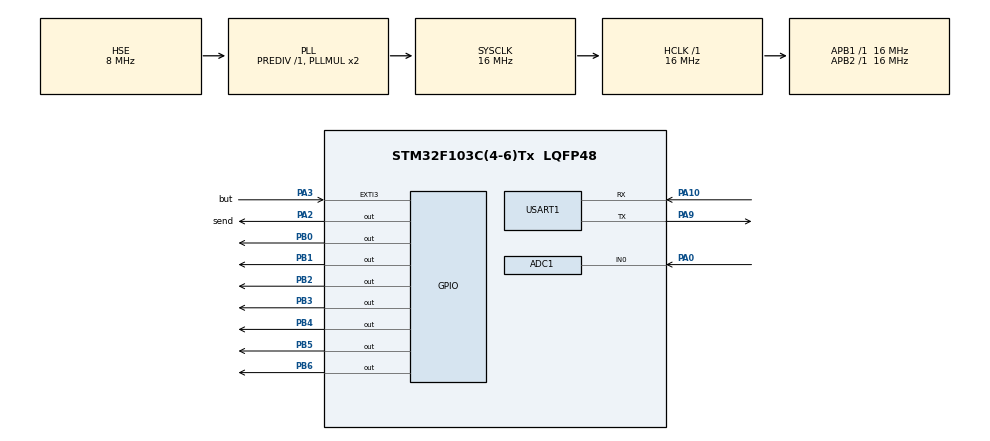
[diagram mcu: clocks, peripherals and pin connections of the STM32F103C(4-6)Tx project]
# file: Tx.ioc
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ADC1.Channel-0\#ChannelRegularConversion=ADC_CHANNEL_0
ADC1.NbrOfConversionFlag=1
ADC1.Rank-0\#ChannelRegularConversion=1
ADC1.SamplingTime-0\#ChannelRegularConversion=ADC_SAMPLETIME_1CYCLE_5
ADC1.master=1
Mcu.Family=STM32F1
Mcu.Name=STM32F103C(4-6)Tx
Mcu.Package=LQFP48
NVIC.ADC1_2_IRQn=true\:0\:0\:false\:false\:true\:true\:true\:true
NVIC.EXTI3_IRQn=true\:0\:0\:false\:false\:true\:true\:true\:true
NVIC.PriorityGroup=NVIC_PRIORITYGROUP_4
NVIC.TIM2_IRQn=true\:0\:0\:false\:false\:true\:true\:true\:true
PA0-WKUP.Signal=ADCx_IN0
PA10.Mode=Asynchronous
PA10.Signal=USART1_RX
PA2.GPIO_Label=send
PA2.Signal=GPIO_Output
PA3.GPIO_Label=but
PA3.Signal=GPXTI3
PA9.Mode=Asynchronous
PA9.Signal=USART1_TX
PB0.GPIO_Speed=GPIO_SPEED_FREQ_MEDIUM
PB0.PinState=GPIO_PIN_SET
PB0.Signal=GPIO_Output
PB1.GPIO_Speed=GPIO_SPEED_FREQ_MEDIUM
PB1.PinState=GPIO_PIN_SET
PB1.Signal=GPIO_Output
PB2.GPIO_Speed=GPIO_SPEED_FREQ_MEDIUM
PB2.PinState=GPIO_PIN_SET
PB2.Signal=GPIO_Output
PB3.GPIO_Speed=GPIO_SPEED_FREQ_MEDIUM
PB3.PinState=GPIO_PIN_SET
PB3.Signal=GPIO_Output
PB4.GPIO_Speed=GPIO_SPEED_FREQ_MEDIUM
PB4.PinState=GPIO_PIN_SET
PB4.Signal=GPIO_Output
PB5.GPIO_Speed=GPIO_SPEED_FREQ_MEDIUM
PB5.PinState=GPIO_PIN_SET
PB5.Signal=GPIO_Output
PB6.GPIO_Speed=GPIO_SPEED_FREQ_MEDIUM
PB6.PinState=GPIO_PIN_SET
PB6.Signal=GPIO_Output
PD0-OSC_IN.Mode=HSE-External-Oscillator
PD0-OSC_IN.Signal=RCC_OSC_IN
PD1-OSC_OUT.Mode=HSE-External-Oscillator
PD1-OSC_OUT.Signal=RCC_OSC_OUT
ProjectManager.HeapSize=0x200
ProjectManager.StackSize=0x400
ProjectManager.TargetToolchain=STM32CubeIDE
RCC.AHBFreq_Value=16000000
RCC.APB1Freq_Value=16000000
RCC.APB1TimFreq_Value=16000000
RCC.APB2Freq_Value=16000000
RCC.APB2TimFreq_Value=16000000
RCC.HCLKFreq_Value=16000000
RCC.PLLSourceVirtual=RCC_PLLSOURCE_HSE
RCC.SYSCLKFreq_VALUE=16000000
RCC.SYSCLKSource=RCC_SYSCLKSOURCE_PLLCLK
RCC.USBFreq_Value=16000000
SH.ADCx_IN0.0=ADC1_IN0,IN0
TIM2.Period=25999
TIM2.Prescaler=1
USART1.VirtualMode=VM_ASYNC
VP_SYS_VS_ND.Mode=No_Debug
VP_TIM2_VS_ClockSourceINT.Mode=Internal
board=custom

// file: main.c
/* USER CODE BEGIN Header */
/**
  ******************************************************************************
  * @file           : main.c
  * @brief          : Main program body
  ******************************************************************************
  * @attention
  *
  * Copyright (c) 2024 STMicroelectronics.
  * All rights reserved.
  *
  * This software is licensed under terms that can be found in the LICENSE file
  * in the root directory of this software component.
  * If no LICENSE file comes with this software, it is provided AS-IS.
  *
  ******************************************************************************
  */
/* USER CODE END Header */
#include "main.h"
#include "adc.h"
#include "tim.h"
#include "usart.h"
#include "gpio.h"

#include "../../ECUAL/LCD16X2/LCD16X2.h"
#include <stdio.h>
#include <stdlib.h>
#include <string.h>
#define MyLCD LCD16X2_1
/* USER CODE BEGIN Includes */
char value[12];
int a = 1;
int adc_valid = 0;
float adc_result = 0;
float test = 1.26;
float slope =0;
float result;
float v = 0;
float* result_t;
uint8_t buff[16];
char res_str[16];
char* in;
char* fl;
char dot = '.';
char* deci;
int maiin = 0;
int dec = 0;
int send=0;
/* USER CODE END Includes */

void SystemClock_Config(void);

/* USER CODE BEGIN 0 */
void HAL_GPIO_EXTI_Callback(uint16_t GPIO_Pin)
{
send=1;
}
void HAL_ADC_ConvCpltCallback(ADC_HandleTypeDef* hadc){
	if (hadc == &hadc1){
		adc_valid = 1;
		adc_result = HAL_ADC_GetValue(&hadc1);
	}
}

/* USER CODE END 0 */

int main(void)
{

  /* MCU Configuration--------------------------------------------------------*/

  /* Reset of all peripherals, Initializes the Flash interface and the Systick. */
  HAL_Init();

  /* Configure the system clock */
  SystemClock_Config();

  /* USER CODE BEGIN SysInit */
	  MX_GPIO_Init();
	  /* USER CODE BEGIN 2 */

  /* USER CODE END SysInit */

  /* Initialize all configured peripherals */
  MX_GPIO_Init();
  MX_TIM2_Init();
  MX_USART1_UART_Init();
  MX_ADC1_Init();
  /* USER CODE BEGIN 2 */

  /* USER CODE END SysInit */

  /* Initialize all configured peripherals */
  MX_GPIO_Init();
  MX_TIM2_Init();
  MX_USART1_UART_Init();
  MX_ADC1_Init();
  /* USER CODE BEGIN 2 */

  /* USER CODE END SysInit */

  /* Initialize all configured peripherals */
  MX_GPIO_Init();
  MX_TIM2_Init();
  MX_USART1_UART_Init();
  MX_ADC1_Init();
  /* USER CODE BEGIN 2 */

  /* USER CODE END SysInit */

  /* Initialize all configured peripherals */
  MX_GPIO_Init();
  MX_TIM2_Init();
  MX_USART1_UART_Init();
  MX_ADC1_Init();
  /* USER CODE BEGIN 2 */

  /* USER CODE END SysInit */

  /* Initialize all configured peripherals */
  MX_GPIO_Init();
  MX_TIM2_Init();
  MX_USART1_UART_Init();
  MX_ADC1_Init();
  /* USER CODE BEGIN 2 */

  /* USER CODE END SysInit */

  /* Initialize all configured peripherals */
  MX_GPIO_Init();
  MX_TIM2_Init();
  MX_USART1_UART_Init();
  MX_ADC1_Init();
  /* USER CODE BEGIN 2 */

  /* USER CODE END SysInit */

  /* Initialize all configured peripherals */
  MX_GPIO_Init();
  MX_TIM2_Init();
  MX_USART1_UART_Init();
  MX_ADC1_Init();
  /* USER CODE BEGIN 2 */

  /* USER CODE END SysInit */

  /* Initialize all configured peripherals */
  MX_GPIO_Init();
  MX_TIM2_Init();
  MX_USART1_UART_Init();
  MX_ADC1_Init();
  /* USER CODE BEGIN 2 */

  /* USER CODE END SysInit */

  /* Initialize all configured peripherals */
  MX_GPIO_Init();
  MX_TIM2_Init();
  MX_USART1_UART_Init();
  /* USER CODE BEGIN 2 */

  /* USER CODE END SysInit */

  /* Initialize all configured peripherals */
  MX_GPIO_Init();
  MX_TIM2_Init();
  MX_USART1_UART_Init();
  /* USER CODE BEGIN 2 */

  /* USER CODE END SysInit */

  /* Initialize all configured peripherals */
  MX_GPIO_Init();
  MX_TIM2_Init();
  MX_USART1_UART_Init();
  /* USER CODE BEGIN 2 */

  /* USER CODE END SysInit */

  /* Initialize all configured peripherals */
  MX_GPIO_Init();
  MX_TIM2_Init();
  MX_USART1_UART_Init();
  /* USER CODE BEGIN 2 */

  /* USER CODE END SysInit */

  /* Initialize all configured peripherals */
  MX_GPIO_Init();
  MX_TIM2_Init();
  /* USER CODE BEGIN 2 */

  /* USER CODE END SysInit */

  /* Initialize all configured peripherals */
  MX_GPIO_Init();
  MX_TIM2_Init();
  /* USER CODE BEGIN 2 */

  /* USER CODE END SysInit */

  /* Initialize all configured peripherals */
  MX_GPIO_Init();
  MX_TIM2_Init();
  /* USER CODE BEGIN 2 */

  /* USER CODE END SysInit */

  /* Initialize all configured peripherals */
  MX_GPIO_Init();
  MX_TIM2_Init();
  /* USER CODE BEGIN 2 */

  /* USER CODE END SysInit */

  /* Initialize all configured peripherals */
  MX_GPIO_Init();
  MX_TIM2_Init();
  /* USER CODE BEGIN 2 */

  /* USER CODE END SysInit */

  /* Initialize all configured peripherals */
  MX_GPIO_Init();
  MX_TIM2_Init();
  /* USER CODE BEGIN 2 */

  /* USER CODE END SysInit */

  /* Initialize all configured peripherals */
  MX_GPIO_Init();
  MX_TIM2_Init();
  /* USER CODE BEGIN 2 */

  /* USER CODE END SysInit */

  /* Initialize all configured peripherals */
  MX_GPIO_Init();
  MX_TIM2_Init();
  /* USER CODE BEGIN 2 */

  /* USER CODE END SysInit */

  /* Initialize all configured peripherals */
  MX_GPIO_Init();
  MX_TIM2_Init();
  /* USER CODE BEGIN 2 */

  /* USER CODE END SysInit */

  /* Initialize all configured peripherals */
  MX_GPIO_Init();
  MX_TIM2_Init();
  /* USER CODE BEGIN 2 */

  /* USER CODE END SysInit */

  /* Initialize all configured peripherals */
  MX_GPIO_Init();

  /* USER CODE BEGIN 2 */
  LCD16X2_Init(MyLCD);
       LCD16X2_Clear(MyLCD);
       HAL_ADC_Start_IT(&hadc1);

   /* USER CODE END SysInit */

   /* Initialize all configured peripherals */

       MX_GPIO_Init();
//res_str = " hello ";

	  /* USER CODE END SysInit */

	  /* Initialize all configured peripherals */
  HAL_TIM_Base_Start_IT(&htim2);
	      MX_GPIO_Init();
  /* USER CODE END 2 */
slope = 0.00122291;
  /* Infinite loop */
  while (1)
  {

    /* USER CODE BEGIN 3 */
	  if ((adc_valid == 1) && ( send ==1)){
	  	  	  	   v = adc_result*slope;
	  	  	  	   result = 0.37*(v*v) -4.181*v + 9.943;
	  	  	  	   sprintf(res_str, "%f", result);
	  	          HAL_UART_Transmit(&huart1, (uint8_t*)res_str, 16, 100);
	  	          adc_valid=0;
	  	          HAL_ADC_Start_IT(&hadc1);
	  	          send=0;
	  	  	  	  	  	      	  }

	  HAL_Delay(300);
    /* USER CODE BEGIN 3 */
  }
  /* USER CODE END 3 */
}

void SystemClock_Config(void)
{
  RCC_OscInitTypeDef RCC_OscInitStruct = {0};
  RCC_ClkInitTypeDef RCC_ClkInitStruct = {0};
  RCC_PeriphCLKInitTypeDef PeriphClkInit = {0};

  /** Initializes the RCC Oscillators according to the specified parameters
  * in the RCC_OscInitTypeDef structure.
  */
  RCC_OscInitStruct.OscillatorType = RCC_OSCILLATORTYPE_HSE;
  RCC_OscInitStruct.HSEState = RCC_HSE_ON;
  RCC_OscInitStruct.HSEPredivValue = RCC_HSE_PREDIV_DIV1;
  RCC_OscInitStruct.HSIState = RCC_HSI_ON;
  RCC_OscInitStruct.PLL.PLLState = RCC_PLL_ON;
  RCC_OscInitStruct.PLL.PLLSource = RCC_PLLSOURCE_HSE;
  RCC_OscInitStruct.PLL.PLLMUL = RCC_PLL_MUL2;
  if (HAL_RCC_OscConfig(&RCC_OscInitStruct) != HAL_OK)
  {
    Error_Handler();
  }

  /** Initializes the CPU, AHB and APB buses clocks
  */
  RCC_ClkInitStruct.ClockType = RCC_CLOCKTYPE_HCLK|RCC_CLOCKTYPE_SYSCLK
                              |RCC_CLOCKTYPE_PCLK1|RCC_CLOCKTYPE_PCLK2;
  RCC_ClkInitStruct.SYSCLKSource = RCC_SYSCLKSOURCE_PLLCLK;
  RCC_ClkInitStruct.AHBCLKDivider = RCC_SYSCLK_DIV1;
  RCC_ClkInitStruct.APB1CLKDivider = RCC_HCLK_DIV1;
  RCC_ClkInitStruct.APB2CLKDivider = RCC_HCLK_DIV1;

  if (HAL_RCC_ClockConfig(&RCC_ClkInitStruct, FLASH_LATENCY_0) != HAL_OK)
  {
    Error_Handler();
  }
  PeriphClkInit.PeriphClockSelection = RCC_PERIPHCLK_ADC;
  PeriphClkInit.AdcClockSelection = RCC_ADCPCLK2_DIV2;
  if (HAL_RCCEx_PeriphCLKConfig(&PeriphClkInit) != HAL_OK)
  {
    Error_Handler();
  }
}

/* USER CODE BEGIN 4 */
//void HAL_ADC_ConvCpltCallback(ADC_HandleTypeDef* hadc){
//	if (hadc == &hadc1){
//		adc_valid = 1;
//		adc_result = HAL_ADC_GetValue(&hadc1);
//	}
//}
/* USER CODE END 4 */

void Error_Handler(void)
{
  __disable_irq();
  while (1)
  {
  }
}
